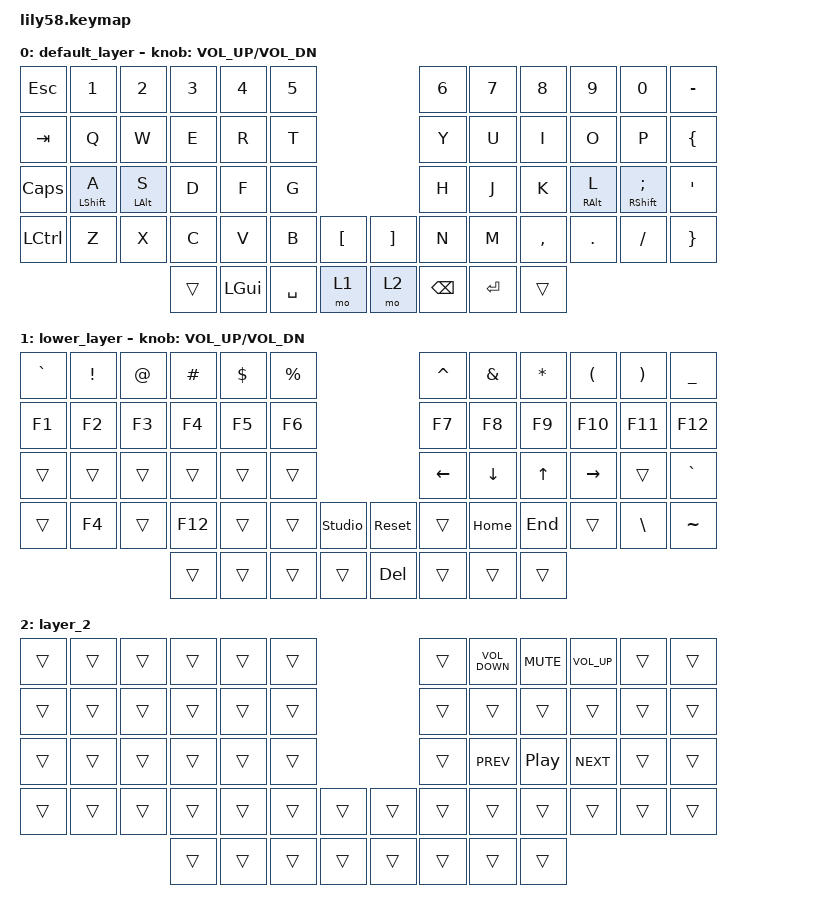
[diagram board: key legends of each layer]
/*
 * Copyright (c) 2020 The ZMK Contributors
 *
 * SPDX-License-Identifier: MIT
 */

#include <behaviors.dtsi>
#include <dt-bindings/zmk/keys.h>

/ {
    combos {
        compatible = "zmk,combos";

        caps {
            bindings = <&kp CAPSLOCK>;
            key-positions = <28 31>;
        };

        minus {
            bindings = <&kp MINUS>;
            key-positions = <14 15>;
        };

        plus {
            bindings = <&kp PLUS>;
            key-positions = <15 16>;
        };

        lp {
            bindings = <&kp LEFT_PARENTHESIS>;
            key-positions = <16 17>;
        };

        lb {
            bindings = <&kp LEFT_BRACKET>;
            key-positions = <28 29>;
        };

        lfb {
            bindings = <&kp LEFT_BRACE>;
            key-positions = <41 40>;
        };

        rfb {
            bindings = <&kp RIGHT_BRACE>;
            key-positions = <44 45>;
        };

        rp {
            bindings = <&kp RIGHT_PARENTHESIS>;
            key-positions = <18 19>;
        };

        rb {
            bindings = <&kp RIGHT_BRACKET>;
            key-positions = <31 30>;
        };

        lt {
            bindings = <&kp LESS_THAN>;
            key-positions = <46 47>;
        };

        gt {
            bindings = <&kp GREATER_THAN>;
            key-positions = <47 48>;
        };

        underscore {
            bindings = <&kp UNDERSCORE>;
            key-positions = <21 20>;
        };

        equal {
            bindings = <&kp EQUAL>;
            key-positions = <19 20>;
        };
    };

    behaviors {
        hold_a: hold_a {
            compatible = "zmk,behavior-hold-tap";
            label = "HOLD_A";
            #binding-cells = <2>;
            flavor = "tap-preferred";
            tapping-term-ms = <200>;

            /* bindings must be phandles only; parameters are passed when used in keymap */

            bindings = <&kp>, <&kp>;
        };

        hold_s: hold_s {
            compatible = "zmk,behavior-hold-tap";
            label = "HOLD_S";
            #binding-cells = <2>;
            flavor = "tap-preferred";
            tapping-term-ms = <200>;
            bindings = <&kp>, <&kp>;
        };

        hold_semi: hold_semi {
            compatible = "zmk,behavior-hold-tap";
            label = "HOLD_SEMI";
            #binding-cells = <2>;
            flavor = "tap-preferred";
            tapping-term-ms = <200>;
            bindings = <&kp>, <&kp>;
        };

        hold_l: hold_l {
            compatible = "zmk,behavior-hold-tap";
            label = "HOLD_L";
            #binding-cells = <2>;
            flavor = "tap-preferred";
            tapping-term-ms = <200>;
            bindings = <&kp>, <&kp>;
        };
    };

    macros {
        mtl: move_to_left_word {
            compatible = "zmk,behavior-macro";
            #binding-cells = <0>;
            bindings = <&kp LEFT_ALT &kp LEFT_ARROW>;
            label = "MOVE_TO_LEFT_WORD";
        };

        mtr: move_to_right_word {
            compatible = "zmk,behavior-macro";
            #binding-cells = <0>;
            bindings = <&kp LEFT_ALT &kp RIGHT_ARROW>;
            label = "MOVE_TO_RIGHT_WORD";
        };

        delete_word: delete_word {
            compatible = "zmk,behavior-macro";
            #binding-cells = <0>;
            bindings = <&kp LEFT_ALT &kp BACKSPACE>;
            label = "DELETE_WORD";
        };
    };

    keymap {
        compatible = "zmk,keymap";

        default_layer {
            // ------------------------------------------------------------------------------------------------------------
            // |  ESC  |  1  |  2  |  3   |  4   |  5   |                   |  6   |  7    |  8    |  9   |   0   |   `   |
            // |  TAB  |  Q  |  W  |  E   |  R   |  T   |                   |  Y   |  U    |  I    |  O   |   P   |   -   |
            // |  CTRL |  A  |  S  |  D   |  F   |  G   |                   |  H   |  J    |  K    |  L   |   ;   |   '   |
            // | SHIFT |  Z  |  X  |  C   |  V   |  B   |   "["  |  |  "]"  |  N   |  M    |  ,    |  .   |   /   | SHIFT |
            //                     | ALT  | GUI  | LOWER|  SPACE |  | ENTER | RAISE| BSPC  | GUI   |

            bindings = <
&kp ESC       &kp N1            &kp N2          &kp N3  &kp N4    &kp N5                           &kp N6         &kp N7     &kp N8     &kp N9          &kp N0                       &kp MINUS
&kp TAB       &kp Q             &kp W           &kp E   &kp R     &kp T                            &kp Y          &kp U      &kp I      &kp O           &kp P                        &kp LEFT_BRACE
&kp CAPSLOCK  &hold_a LSHIFT A  &hold_s LALT S  &kp D   &kp F     &kp G                            &kp H          &kp J      &kp K      &hold_l RALT L  &hold_semi RSHIFT SEMICOLON  &kp SQT
&kp LCTRL     &kp Z             &kp X           &kp C   &kp V     &kp B      &kp LBKT    &kp RBKT  &kp N          &kp M      &kp COMMA  &kp DOT         &kp FSLH                     &kp RIGHT_BRACE
                                                &trans  &kp LGUI  &kp SPACE  &mo 1       &mo 2     &kp BACKSPACE  &kp ENTER  &trans
            >;

            sensor-bindings = <&inc_dec_kp C_VOL_UP C_VOL_DN>;
        };

        lower_layer {
            // --------------------------------------------------------------------------------------------------------------
            // | LPAD  | BRDn | BRUp |  MUT |  Vo- |  Vo+ |                   |      |       |       |      |       |       |
            // |  F1   |  F2  |  F3  |  F4  |  F5  |  F6  |                   |  F7  |  F8   |  F9   |  F10 |  F11  |  F12  |
            // |   `   |  !   |  @   |  #   |  $   |  %   |                   |  ^   |  &    |  *    |  (   |   )   |   ~   |
            // |       |      |      |      |      |      |        |  |       |      |  _    |  +    |  {   |   }   |  "|"  |
            //                       |      |      |      |        |  |       |      |       |       |

            bindings = <
&kp GRAVE  &kp EXCLAMATION  &kp AT_SIGN  &kp HASH  &kp DOLLAR  &kp PERCENT                                &kp CARET  &kp AMPERSAND  &kp ASTERISK  &kp LEFT_PARENTHESIS  &kp RIGHT_PARENTHESIS  &kp UNDERSCORE
&kp F1     &kp F2           &kp F3       &kp F4    &kp F5      &kp F6                                     &kp F7     &kp F8         &kp F9        &kp F10               &kp F11                &kp F12
&trans     &trans           &trans       &trans    &trans      &trans                                     &kp LEFT   &kp DOWN       &kp UP_ARROW  &kp RIGHT             &trans                 &kp GRAVE
&trans     &kp F4           &trans       &kp F12   &trans      &trans       &studio_unlock    &sys_reset  &trans     &kp HOME       &kp END       &trans                &kp BACKSLASH          &kp TILDE
                                         &trans    &trans      &trans       &trans            &kp DELETE  &trans     &trans         &trans
            >;

            sensor-bindings = <&inc_dec_kp C_VOL_UP C_VOL_DN>;
        };

        layer_2 {
            bindings = <
&trans  &trans  &trans  &trans  &trans  &trans                    &trans  &kp C_VOLUME_DOWN  &kp C_MUTE  &kp C_VOL_UP  &trans  &trans
&trans  &trans  &trans  &trans  &trans  &trans                    &trans  &trans             &trans      &trans        &trans  &trans
&trans  &trans  &trans  &trans  &trans  &trans                    &trans  &kp C_PREV         &kp C_PP    &kp C_NEXT    &trans  &trans
&trans  &trans  &trans  &trans  &trans  &trans  &trans    &trans  &trans  &trans             &trans      &trans        &trans  &trans
                        &trans  &trans  &trans  &trans    &trans  &trans  &trans             &trans
            >;
        };
    };
};
